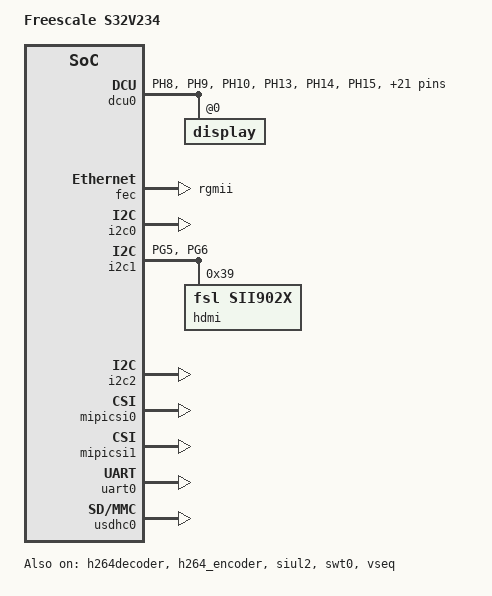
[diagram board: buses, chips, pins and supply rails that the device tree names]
/*
 * Copyright 2015 Freescale Semiconductor, Inc.
 *
 * This program is free software; you can redistribute it and/or modify
 * it under the terms of the GNU General Public License as published by
 * the Free Software Foundation; either version 2 of the License, or
 * (at your option) any later version.
 */

/dts-v1/;
#include "s32v234.dtsi"
/ {
	model = "Freescale S32V234";
	compatible = "fsl,s32v234-tmdp", "fsl,s32v234", "arm,vexpress,v2p-aarch64", "arm,vexpress";

	chosen {
		bootargs = "console=ttyLF0";
	};

	memory_DDR0@80000000 {
		device_type = "memory";
		reg = <0 0x80000000 0 0x10000000>;
	};

	memory_DDR1@c0000000 {
		device_type = "memory";
		reg = <0 0xc0000000 0 0x10000000>;
	};
};

&dcu0 {
	display = <&display>;
	status = "okay";

	pinctrl-names = "default";
	pinctrl-0 = <&pinctrl_dcu>;

	display: display@0 {
		bits-per-pixel = <32>;

		display-timings {
			native-mode = <&timing2>;

			timing0: hdmi-xga {
				clock-frequency = <12690000>;
				hactive = <1024>;
				vactive = <768>;
				vback-porch = <28>;
				vfront-porch = <1>;
				hback-porch = <176>;
				hfront-porch = <16>;
				hsync-len = <96>;
				vsync-len = <3>;
			};

			timing1: hdmi-wxga {
				clock-frequency = <13468000>;
				hactive = <1280>;
				vactive = <720>;
				vback-porch = <20>;
				vfront-porch = <5>;
				hback-porch = <220>;
				hfront-porch = <110>;
				hsync-len = <40>;
				vsync-len = <5>;
			};

			timing2: lvds-fhd {
				clock-frequency = <56000000>;
				hactive = <1920>;
				vactive = <1080>;
				hback-porch = <30>;
				hfront-porch = <60>;
				vback-porch = <30>;
				vfront-porch = <3>;
				hsync-len = <60>;
				vsync-len = <3>;
			};
		};
	};
};

&fdma {
	status = "okay";
};

&fec {
	phy-mode = "rgmii";
	fixed-link = <1 1 100 0 0>;
	status = "okay";
};

&h264decoder {
	status = "okay";
};

&h264_encoder {
	status = "okay";
};

&i2c0 {
	status = "okay";
};
&i2c1 {
	status = "okay";
	pinctrl-0 = <&pinctrl_i2c1>;

	hdmi: sii9022a@39 {
		compatible = "fsl,sii902x";
		reg = <0x39>;
	};
};
&i2c2 {
	status = "okay";
};

&mipicsi0 {
	status = "okay";
};

&mipicsi1 {
	status = "okay";
};

&siul2 {
	status = "okay";
	s32v234-evb {
		pinctrl_i2c1: i2c1grp {
			fsl,pins = <
				S32V234_PAD_PG5__I2C1_DATA_OUT
				S32V234_PAD_PG5__I2C1_DATA_IN
				S32V234_PAD_PG6__I2C1_SCLK_OUT
				S32V234_PAD_PG6__I2C1_SCLK_IN
			>;
		};

		pinctrl_dcu: dcugrp {
			fsl,pins = <
				S32V234_PAD_PH8__DCU_HSYNC_C1
				S32V234_PAD_PH9__DCU_VSYNC_C2
				S32V234_PAD_PH10__DCU_DE_C3
				S32V234_PAD_PH10__DCU_PCLK_D1
				S32V234_PAD_PH13__DCU_R0_D2
				S32V234_PAD_PH14__DCU_R1_D3
				S32V234_PAD_PH15__DCU_R2_D4
				S32V234_PAD_PJ0__DCU_R3_D5
				S32V234_PAD_PJ1__DCU_R4_D6
				S32V234_PAD_PJ2__DCU_R5_D7
				S32V234_PAD_PJ3__DCU_R6_D8
				S32V234_PAD_PJ4__DCU_R7_D9
				S32V234_PAD_PJ5__DCU_G0_D10
				S32V234_PAD_PJ6__DCU_G1_D11
				S32V234_PAD_PJ7__DCU_G2_D12
				S32V234_PAD_PJ8__DCU_G3_D13
				S32V234_PAD_PJ9__DCU_G4_D14
				S32V234_PAD_PJ10__DCU_G5_D15
				S32V234_PAD_PJ11__DCU_G6_D16
				S32V234_PAD_PJ12__DCU_G7_D17
				S32V234_PAD_PJ13__DCU_B0_D18
				S32V234_PAD_PJ14__DCU_B1_D19
				S32V234_PAD_PJ15__DCU_B2_D20
				S32V234_PAD_PK0__DCU_B3_D21
				S32V234_PAD_PK1__DCU_B4_D22
				S32V234_PAD_PK2__DCU_B5_D23
				S32V234_PAD_PK3__DCU_B6_D24
				S32V234_PAD_PK4__DCU_B7_D25
				>;
		};
	};
};
&swt0 {
	status = "okay";
};
&uart0 {
	status = "okay";
};
&usdhc0 {
	no-1-8-V;
	status = "okay";
};

&vseq {
	status = "okay";
};
